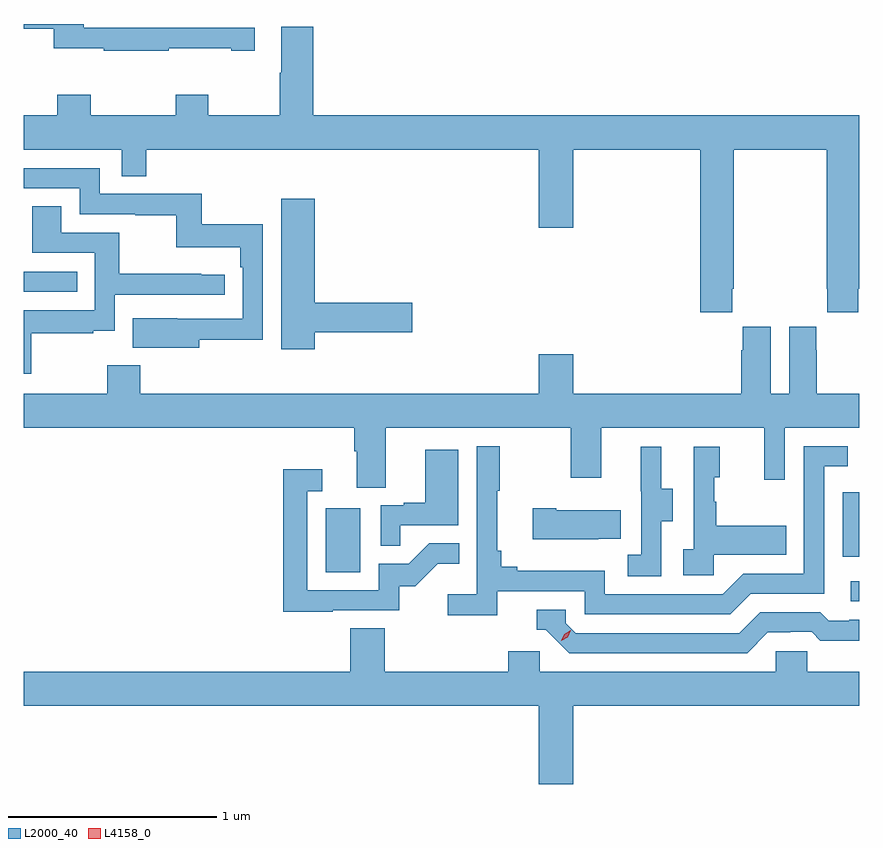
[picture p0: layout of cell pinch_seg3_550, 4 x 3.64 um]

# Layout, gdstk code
import gdstk
lib = gdstk.Library(unit=1e-6, precision=1e-09)
def R(c, l, rs):  # rectangles x0, y0, x1, y1
    for r in rs: c.add(gdstk.rectangle(r[:2], r[2:], *l))
def P(c, l, *ps):  # polygons
    for p in ps: c.add(gdstk.Polygon(p, *l))
L2000_40 = (2000, 40)
L4158_0 = (4158, 0)

pinch_seg3_550 = lib.new_cell('pinch_seg3_550')
R(pinch_seg3_550, L2000_40, [(1113.555,698.754,1113.594,698.85), (1111.04,698.892,1111.204,699.199), (1113.516,698.967,1113.594,699.276), (1109.594,700.236,1109.849,700.332)])
P(pinch_seg3_550, L2000_40, [(1110.287,701.401),(1110.587,701.401),(1110.587,701.391),(1110.7,701.391),(1110.7,701.501),(1110.424,701.501),(1110.424,701.499),(1110.09,701.499),(1110.09,701.5),(1109.88,701.5),(1109.88,701.518),(1109.594,701.518),(1109.594,701.495),(1109.738,701.495),(1109.738,701.401),(1109.977,701.401),(1109.977,701.391),(1110.287,701.391)],
  [(1112.987,700.249),(1112.994,700.249),(1112.994,700.916),(1113.439,700.916),(1113.439,700.249),(1113.441,700.249),(1113.441,700.137),(1113.591,700.137),(1113.591,700.249),(1113.594,700.249),(1113.594,701.08),(1110.98,701.08),(1110.98,701.506),(1110.827,701.506),(1110.827,701.285),(1110.82,701.285),(1110.82,701.08),(1110.477,701.08),(1110.477,701.179),(1110.322,701.179),(1110.322,701.08),(1109.913,701.08),(1109.913,701.179),(1109.753,701.179),(1109.753,701.08),(1109.594,701.08),(1109.594,700.916),(1110.063,700.916),(1110.063,700.789),(1110.179,700.789),(1110.179,700.916),(1112.06,700.916),(1112.06,700.542),(1112.224,700.542),(1112.224,700.916),(1112.834,700.916),(1112.834,700.137),(1112.987,700.137)],
  [(1110.433,700.006),(1110.738,700.006),(1110.738,700.558),(1110.445,700.558),(1110.445,700.704),(1109.958,700.704),(1109.958,700.827),(1109.594,700.827),(1109.594,700.731),(1109.862,700.731),(1109.862,700.608),(1110.127,700.608),(1110.127,700.603),(1110.324,700.603),(1110.324,700.448),(1110.629,700.448),(1110.629,700.352),(1110.642,700.352),(1110.642,700.107),(1110.329,700.107),(1110.329,700.108),(1110.115,700.108),(1110.115,699.968),(1110.433,699.968)],
  [(1110.988,700.042),(1111.453,700.042),(1111.453,700.184),(1110.988,700.184),(1110.988,700.681),(1110.827,700.681),(1110.827,699.96),(1110.988,699.96)],
  [(1109.629,700.038),(1109.927,700.038),(1109.927,700.049),(1110.03,700.049),(1110.03,700.221),(1110.556,700.221),(1110.556,700.317),(1110.443,700.317),(1110.443,700.322),(1110.05,700.322),(1110.05,700.518),(1109.773,700.518),(1109.773,700.646),(1109.633,700.646),(1109.633,700.422),(1109.934,700.422),(1109.934,700.146),(1109.594,700.146),(1109.594,699.843),(1109.629,699.843)],
  [(1111.327,699.584),(1112.212,699.584),(1112.212,699.345),(1112.359,699.345),(1112.359,699.584),(1113.14,699.584),(1113.14,699.336),(1113.237,699.336),(1113.237,699.584),(1113.594,699.584),(1113.594,699.748),(1113.391,699.748),(1113.391,699.956),(1113.39,699.956),(1113.39,700.069),(1113.26,700.069),(1113.26,699.748),(1113.172,699.748),(1113.172,700.069),(1113.038,700.069),(1113.038,699.956),(1113.029,699.956),(1113.029,699.748),(1112.224,699.748),(1112.224,699.937),(1112.06,699.937),(1112.06,699.748),(1110.152,699.748),(1110.152,699.883),(1109.992,699.883),(1109.992,699.748),(1109.594,699.748),(1109.594,699.584),(1111.175,699.584),(1111.175,699.472),(1111.187,699.472),(1111.187,699.298),(1111.327,699.298)],
  [(1111.862,698.802),(1112.28,698.802),(1112.28,698.691),(1112.977,698.691),(1113.076,698.79),(1113.426,698.79),(1113.426,699.399),(1113.539,699.399),(1113.539,699.495),(1113.33,699.495),(1113.33,698.886),(1113.039,698.886),(1112.94,698.787),(1112.376,698.787),(1112.376,698.899),(1111.957,698.899),(1111.957,698.918),(1111.88,698.918),(1111.88,698.995),(1111.861,698.995),(1111.861,699.283),(1111.873,699.283),(1111.873,699.496),(1111.764,699.496),(1111.764,698.788),(1111.623,698.788),(1111.623,698.686),(1111.862,698.686)],
  [(1112.646,699.136),(1112.701,699.136),(1112.701,699.291),(1112.647,699.291),(1112.647,699.493),(1112.549,699.493),(1112.549,699.279),(1112.55,699.279),(1112.55,698.975),(1112.487,698.975),(1112.487,698.872),(1112.646,698.872)],
  [(1112.898,698.975),(1113.245,698.975),(1113.245,699.115),(1112.911,699.115),(1112.911,699.23),(1112.901,699.23),(1112.901,699.348),(1112.926,699.348),(1112.926,699.493),(1112.802,699.493),(1112.802,699.002),(1112.751,699.002),(1112.751,698.877),(1112.898,698.877)],
  [(1111.397,699.117),(1111.675,699.117),(1111.675,699.478),(1111.517,699.478),(1111.517,699.226),(1111.413,699.226),(1111.413,699.213),(1111.302,699.213),(1111.302,699.019),(1111.397,699.019)],
  [(1111.073,698.709),(1111.392,698.709),(1111.392,698.826),(1111.468,698.826),(1111.575,698.933),(1111.679,698.933),(1111.679,699.032),(1111.535,699.032),(1111.437,698.934),(1111.293,698.934),(1111.293,698.805),(1110.951,698.805),(1110.951,699.279),(1111.024,699.279),(1111.024,699.385),(1110.835,699.385),(1110.835,698.704),(1111.073,698.704)],
  [(1112.345,699.053),(1112.453,699.053),(1112.453,699.19),(1112.143,699.19),(1112.143,699.198),(1112.031,699.198),(1112.031,699.05),(1112.345,699.05)],
  [(1113.157,698.604),(1113.264,698.604),(1113.264,698.607),(1113.367,698.607),(1113.409,698.565),(1113.594,698.565),(1113.594,698.664),(1113.547,698.664),(1113.547,698.661),(1113.448,698.661),(1113.409,698.7),(1113.12,698.7),(1113.021,698.601),(1112.238,698.601),(1112.19,698.649),(1112.19,698.712),(1112.051,698.712),(1112.051,698.616),(1112.094,698.616),(1112.205,698.505),(1113.058,698.505)],
  [(1112.224,698.252),(1113.594,698.252),(1113.594,698.416),(1113.345,698.416),(1113.345,698.514),(1113.195,698.514),(1113.195,698.416),(1112.064,698.416),(1112.064,698.514),(1111.913,698.514),(1111.913,698.416),(1111.322,698.416),(1111.322,698.624),(1111.157,698.624),(1111.157,698.416),(1109.594,698.416),(1109.594,698.252),(1112.06,698.252),(1112.06,697.878),(1112.224,697.878)])
P(pinch_seg3_550, L4158_0, [(1112.167,698.563),(1112.167,698.563),(1112.183,698.595),(1112.213,698.615),(1112.213,698.615),(1112.213,698.615),(1112.198,698.582),(1112.168,698.563)])

lib.write_gds('pinch_seg3_550.gds')
